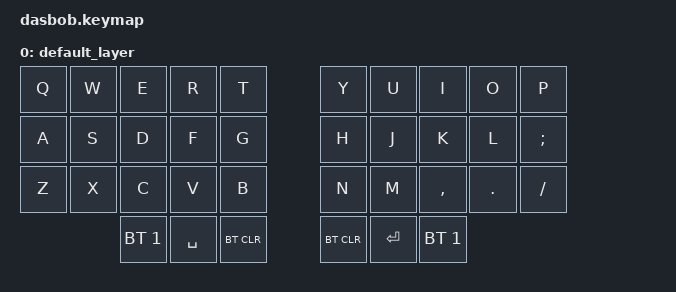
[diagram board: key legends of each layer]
/*
 * Copyright (c) 2020 The ZMK Contributors
 *
 * SPDX-License-Identifier: MIT
 */

#include <behaviors.dtsi>
#include <dt-bindings/zmk/keys.h>
#include <dt-bindings/zmk/bt.h>
//#include <dt-bindings/zmk/outputs.h>
//#include <dt-bindings/zmk/pointing.h>

#define NUMF 1
#define NUMJ 2
#define FUNC 3
#define MOUSE 4

/ {
    keymap {
      compatible = "zmk,keymap";

// ------------------------------------------------------------------------------------------------------------
// |       Q |        W |         E |         R  |    T    |    |    Y    |    U       |      I   |    O      |   P      |
// |       A |  LCTRL S |   MOUSE D |    NUMF F  |    G    |    |    H    |    NUMJ J  |   FUNC K |   RCTRL L |   ;      |
// |LSHIFT Z |        X |         C |         V  |    B    |    |    N    |    M       |      ,   |    .      | RSHIFT / |
//                      |   ESC     |   LALT DEL |    BSPC |    |   SPC   | RALT ENTER |     TAB  |
        default_layer {
          bindings = <
            &kp Q     &kp W     &kp E        &kp R     &kp T      &kp Y      &kp U     &kp I        &kp O     &kp P
            &kp A     &kp S     &kp D        &kp F     &kp G      &kp H      &kp J     &kp K        &kp L     &kp SEMI
            &kp Z     &kp X     &kp C        &kp V     &kp B      &kp N      &kp M     &kp COMMA    &kp DOT   &kp SLASH
                                &bt BT_SEL 1 &kp SPACE &bt BT_CLR &bt BT_CLR &kp ENTER &bt BT_SEL 1
          >;
        };
//          bindings = <
//&kp        Q &kp       W &kp       E &kp R        &kp T          &kp Y     &kp U        &kp      I &kp O       &kp P
//&kp        A &mt LCTRL S &lt FUNC  D &lt NUMF F   &kp G          &kp H     &lt NUMJ J   &lt FUNC K &mt RCTRL L &kp SEMI
//&mt LSHIFT Z &kp       X &kp       C &kp V        &kp B          &kp N     &kp M        &kp COMMA  &kp DOT     &mt RSHIFT FSLH
//                         &kp ESC     &mt LALT DEL &kp BSPC       &kp SPACE &mt RALT RET &kp TAB
//          >;

//        numf_layer {
// ------------------------------------------------------------------------------------------------------------
// |   1    |     2   |    3  |    4  |    5  |       |    6   |    7    |    8    |    9    |   0   |
// |        |   LCTRL |       |  NUMF |       |       |   LEFT |   DOWN  |    UP   |  RIGHT  |       |
// | LSHIFT |         |       |       |       |       |   HOME |   PG_DN |  PG_UP  |   END   |   ]   |
//                    |       | TRANS | TRANS |       |  TRANS |   TRANS |  TRANS  |
//          bindings = <
//&kp   N1    &kp N2    &kp N3  &kp N4  &kp N5          &kp N6   &kp N7    &kp N8    &kp N9    &kp N0
//&none       &kp LCTRL &none   &trans  &bootloader     &kp LEFT &kp DOWN  &kp UP    &kp RIGHT &none
//&kp LSHIFT  &none     &none   &none   &none           &kp HOME &kp PG_DN &kp PG_UP &kp END   &kp RBKT
//                      &none   &trans  &trans          &trans   &trans    &none
//          >;
//        };
//
//        numj_layer {
// ------------------------------------------------------------------------------------------------------------
// |   1   |   2     |   3    |    4   |   5   |      |   6   |    7   |   8   |    9    |   0    |
// |   +   |   -     |   *    |    /   |   =   |      |       |   NUMJ |       |   CTRL  |        |
// |   [   |         |        |    \   |       |      |       |        |       |         | SHIFT  |
//                   |        |  TRANS | TRANS |      |  SPC  |  ENTER |       |
//          bindings = <
//&kp N1     &kp N2    &kp N3   &kp N4   &kp N5         &kp N6  &kp N7   &kp N8  &kp N9    &kp N0
//&kp PLUS   &kp MINUS &kp STAR &kp FSLH &kp EQUAL      &none   &trans   &none   &kp RCTRL &none
//&kp LBKT   &none     &none    &kp BSLH &none          &none   &none    &none   &none     &kp RSHIFT
//                     &none    &trans   &trans         &trans  &trans   &none
//          >;
//        };
//
//        func_layer {
// ------------------------------------------------------------------------------------------------------------
// |    F1  |    F2   |    F3   |   F4   |         |        |          |          |       |         |        |
// |    F5  |    F6   |    F7   |   F8   |         |        |          |          |       |  LCTRL  |        |
// |    F9  |   F10   |   F11   |   F12  |         |        |          |     -    |       |         | RSHIFT |
//                    |         |  LGUI  | LGUIPGU |        |  LGUIPGD |   LALT   |       |
//          bindings = <
//    &kp F1   &kp F2    &kp F3    &kp F4    &bt BT_SEL 1     &out OUT_USB &none      &none  &none     &none
//    &kp F5   &kp F6    &kp F7    &kp F8    &bt BT_SEL 2     &out OUT_BLE &none      &trans &kp LCTRL &none
//    &kp F9   &kp F10   &kp F11   &kp F12   &bt BT_CLR       &bt BT_CLR   &none      &none  &none     &kp RSHIFT
//                    &out OUT_TOG &kp LGUI  &kp LGUI         &kp LGUI     &kp LALT   &none
//          >;
//        };
//
//        mouse_layer {
// ------------------------------------------------------------------------------------------------------------
// |       |        |       |       |        |       | LGUI L | LGUI D  | LGUI U  | LGUI R  | PSCR  |
// |       | LCTRL  |  LT   |       |        |       | MOUSEL | MOUSED  | MOUSEU  | MOUSER  |   `   |
// | SHIFT |        |       |       |        |       |  MW_L  |  MW_D   |  MW_U   |  MW_R   |   '   |
//                  |       | LALT  | MOUSE2 |       | MOUSE1 | MOUSE3  |         |
//          bindings = <
//&none      &none     &none   &none   &none           &kp LGUI        &kp N7          &kp N8        &kp N9           &kp N0
//&none      &kp LCTRL &none   &trans  &none           &kp MOVE_LEFT   &kp MOVE_DOWN   &kp MOVE_UP   &kp MOVE_RIGHT   &kp GRAVE
//&kp LSHIFT &none     &none   &none   &none           &kp SCROLL_LEFT &kp SCROLL_DOWN &kp SCROLL_UP &kp SCROLL_RIGHT &kp SINGLE_QUOTE
//                     &none   &trans  &kp MB2         &kp MB1         &kp MB3         &trans
//          >;
//        };

    };
};

